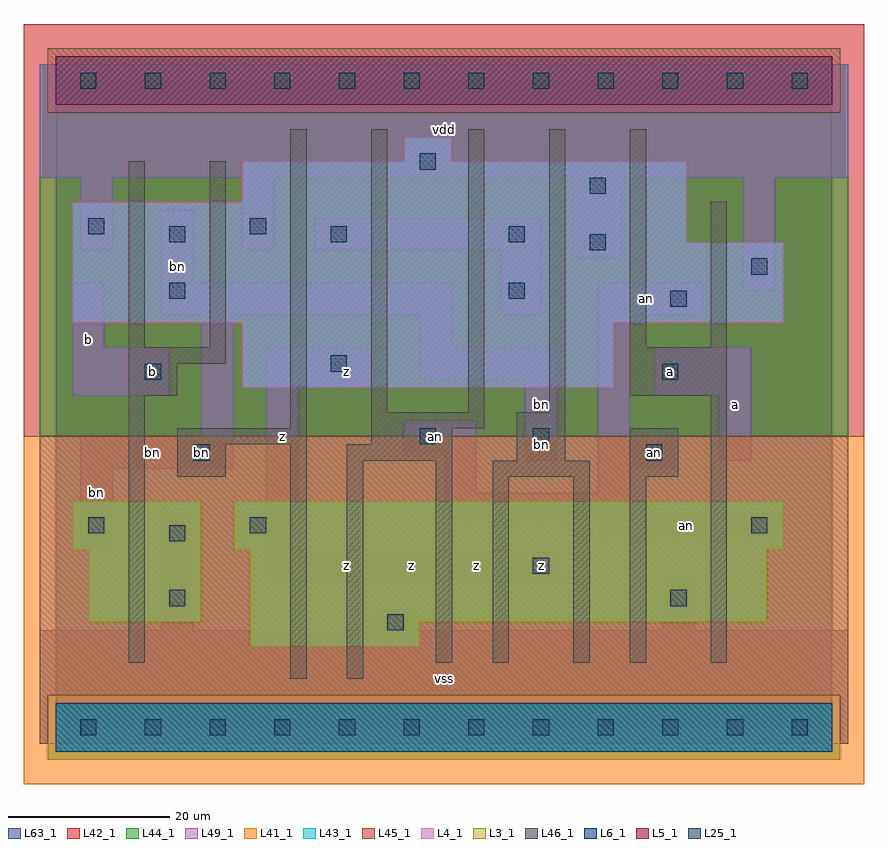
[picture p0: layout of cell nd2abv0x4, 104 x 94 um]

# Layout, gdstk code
import gdstk
lib = gdstk.Library(unit=1e-6, precision=1e-09)
def R(c, l, rs):  # rectangles x0, y0, x1, y1
    for r in rs: c.add(gdstk.rectangle(r[:2], r[2:], *l))
def A(c, l, x, y, w, h, nx, ny, dx, dy):  # array of equal rectangles
    R(c, l, [(x+i*dx, y+j*dy, x+i*dx+w, y+j*dy+h) for i in range(nx) for j in range(ny)])
L3_1 = (3, 1)
L4_1 = (4, 1)
L5_1 = (5, 1)
L6_1 = (6, 1)
L25_1 = (25, 1)
L41_1 = (41, 1)
L42_1 = (42, 1)
L43_1 = (43, 1)
L44_1 = (44, 1)
L45_1 = (45, 1)
L46_1 = (46, 1)
L49_1 = (49, 1)
L63_1 = (63, 1)

nd2abv0x4 = lib.new_cell('nd2abv0x4')
R(nd2abv0x4, L3_1, [(24,10,45,13), (4,13,18,22), (24,13,88,22), (2,22,18,28), (22,22,90,28)])
R(nd2abv0x4, L4_1, [(23,42,69,50), (2,50,90,60), (2,60,78,65), (23,65,78,70), (43,70,49,73)])
R(nd2abv0x4, L5_1, [(0,77,96,83)])
R(nd2abv0x4, L6_1, [(0,-3,96,3), (0,-3,96,3)])
A(nd2abv0x4, L25_1, 3, -1, 2, 2, 12, 2, 8, 80)
R(nd2abv0x4, L25_1, [(41,12,43,14), (14,15,16,17), (76,15,78,17), (59,19,61,21), (14,23,16,25), (4,24,6,26), (24,24,26,26), (86,24,88,26), (17,33,19,35), (73,33,75,35), (45,35,47,37), (59,35,61,37), (11,43,13,45), (75,43,77,45), (34,44,36,46), (76,52,78,54), (14,53,16,55), (56,53,58,55), (86,56,88,58), (66,59,68,61), (14,60,16,62), (34,60,36,62), (56,60,58,62), (4,61,6,63), (24,61,26,63), (66,66,68,68), (45,69,47,71)])
R(nd2abv0x4, L41_1, [(-4,-7,100,36)])
R(nd2abv0x4, L42_1, [(-4,36,100,87)])
R(nd2abv0x4, L43_1, [(0,-3,96,3), (24,10,45,13), (4,13,18,22), (24,13,88,22), (2,22,18,28), (22,22,90,28), (23,42,69,50), (2,50,90,60), (2,60,78,65), (23,65,78,70), (43,70,49,73), (0,77,96,83)])
R(nd2abv0x4, L44_1, [(-1,-4,97,4), (-2,36,98,76), (-2,76,-1,82), (97,76,98,82)])
R(nd2abv0x4, L45_1, [(-2,-2,-1,4), (97,-2,98,4), (-2,4,98,36), (-1,76,97,84)])
R(nd2abv0x4, L46_1, [(29,6,31,35), (36,6,38,33), (9,8,11,41), (47,8,49,33), (54,8,56,31), (64,8,66,31), (71,8,73,31), (81,8,83,41), (15,31,21,35), (54,31,66,33), (71,31,77,37), (36,33,49,35), (57,33,63,39), (15,35,31,37), (39,35,49,37), (29,37,31,74), (39,37,53,39), (39,39,41,74), (51,39,53,74), (61,39,63,74), (9,41,15,45), (71,41,83,47), (9,45,21,47), (9,47,11,70), (19,47,21,70), (71,47,73,74), (81,47,83,65)])
R(nd2abv0x4, L49_1, [(-2,-2,98,12), (13,12,17,27), (39,12,45,15), (75,12,79,19), (26,18,63,22), (3,22,7,32), (26,22,30,23), (22,23,30,27), (67,23,90,25), (48,25,90,27), (26,27,30,42), (48,27,71,29), (48,29,52,34), (67,29,71,32), (3,32,22,36), (67,32,77,36), (58,33,62,43), (82,33,86,41), (43,34,52,38), (18,36,22,51), (67,36,71,51), (2,41,14,47), (74,41,86,47), (26,42,39,47), (45,43,62,47), (2,47,6,55), (45,47,49,51), (13,51,49,55), (55,51,60,59), (67,51,80,55), (85,54,89,68), (13,55,17,64), (64,58,70,68), (3,59,7,68), (23,59,27,68), (32,59,60,63), (-2,68,98,82)])
R(nd2abv0x4, L63_1, [(0,0,96,80)])
nd2abv0x4.add(gdstk.Label('bn', (18,34), layer=49, texttype=1))
nd2abv0x4.add(gdstk.Label('bn', (60,35), layer=49, texttype=1))
nd2abv0x4.add(gdstk.Label('an', (74,34), layer=49, texttype=1))
nd2abv0x4.add(gdstk.Label('bn', (5,29), layer=49, texttype=1))
nd2abv0x4.add(gdstk.Label('b', (12,44), layer=49, texttype=1))
nd2abv0x4.add(gdstk.Label('b', (4,48), layer=49, texttype=1))
nd2abv0x4.add(gdstk.Label('bn', (15,57), layer=49, texttype=1))
nd2abv0x4.add(gdstk.Label('bn', (12,34), layer=49, texttype=1))
nd2abv0x4.add(gdstk.Label('z', (28,36), layer=49, texttype=1))
nd2abv0x4.add(gdstk.Label('vss', (48,6), layer=49, texttype=1))
nd2abv0x4.add(gdstk.Label('z', (36,20), layer=49, texttype=1))
nd2abv0x4.add(gdstk.Label('z', (52,20), layer=49, texttype=1))
nd2abv0x4.add(gdstk.Label('z', (44,20), layer=49, texttype=1))
nd2abv0x4.add(gdstk.Label('z', (36,44), layer=49, texttype=1))
nd2abv0x4.add(gdstk.Label('an', (47,36), layer=49, texttype=1))
nd2abv0x4.add(gdstk.Label('vdd', (48,74), layer=49, texttype=1))
nd2abv0x4.add(gdstk.Label('z', (60,20), layer=49, texttype=1))
nd2abv0x4.add(gdstk.Label('an', (72,34), layer=49, texttype=1))
nd2abv0x4.add(gdstk.Label('bn', (60,40), layer=49, texttype=1))
nd2abv0x4.add(gdstk.Label('a', (76,44), layer=49, texttype=1))
nd2abv0x4.add(gdstk.Label('an', (78,25), layer=49, texttype=1))
nd2abv0x4.add(gdstk.Label('a', (84,40), layer=49, texttype=1))
nd2abv0x4.add(gdstk.Label('an', (73,53), layer=49, texttype=1))

lib.write_gds('nd2abv0x4.gds')
